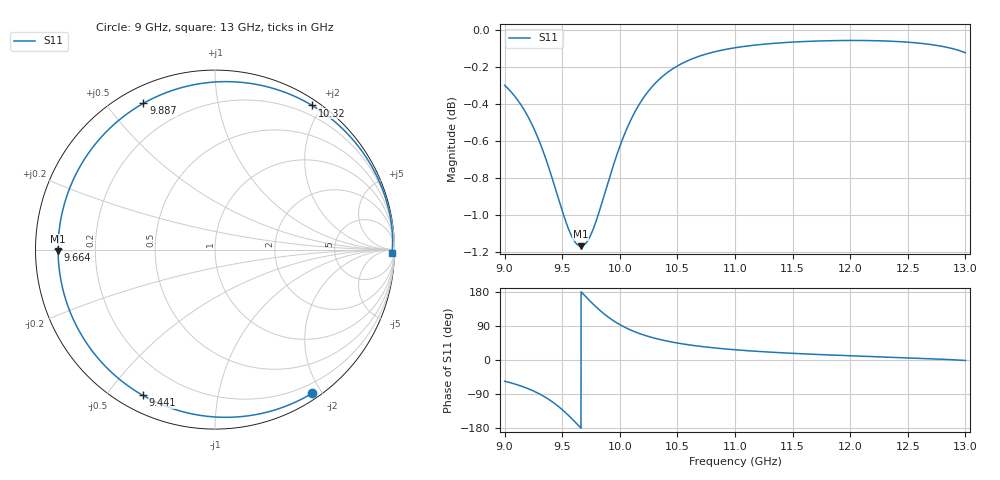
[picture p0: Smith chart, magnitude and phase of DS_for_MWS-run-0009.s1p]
! TOUCHSTONE file generated by CST DESIGN STUDIO
! Date and time: Tue Feb  4 13:34:43 2025
! Project name: C:\Work\MatlabApps\UnitCellOptimizationMatlab\CST\unitcell.cst
! Tree item: Tasks\Sweep1\SPara1\S-Parameters
! Header version: 2024
! Port assignment regex: !\s*Touchstone port\s*([0-9]+)\s*=\s*(CST MWS port|CST DES external port|CST DES block port)\s*(.+)\s* \(\"(.*)\"\)(\s*mode\s*([0-9]+))?.*
! Touchstone port assignment:
! Touchstone port 1 = CST DES external port 1 ("")
# GHz S MA R 50
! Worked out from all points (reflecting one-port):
!   4001 points, 9 GHz to 13 GHz, reference 50 ohm
!   lowest |S11| = -1.2 dB at 9.662 GHz (marker M1), VSWR 14.92, Z = 3.35 - j0.244 ohm
!   phase of S11 starts at -56 deg and turns -305 deg over the sweep
!   S11 on the Smith chart (normalised r, x): 9 GHz: 0.08, -1.88; 9.441 GHz: 0.07, -0.62; 9.664 GHz: 0.07, +0.00; 9.887 GHz: 0.07, +0.62; 10.32 GHz: 0.07, +1.88; 13 GHz: 44, -66
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9  0.9663 -56.0
9.113  0.9575 -65.7
9.225  0.9448 -78.3
9.345  0.9255 -96.7
9.441  0.9062 -116.4
9.5  0.8938 -131.0
9.543  0.8857 -142.8
9.588  0.879 -156.2
9.626  0.8755 -168.0
9.662  0.8744 -179.4
9.664  0.8744 179.9
9.722  0.8774 161.6
9.785  0.8864 142.6
9.836  0.8964 128.7
9.887  0.9073 116.1
9.941  0.9188 104.4
10  0.9303 93.4
10.075  0.9427 81.7
10.152  0.953 71.9
10.233  0.9614 63.5
10.322  0.9685 56.0
10.5  0.978 44.8
10.719  0.9846 35.3
11  0.9891 27.0
11.5  0.9926 17.6
12  0.9936 11.2
12.5  0.9925 5.7
13  0.986 -1.2
